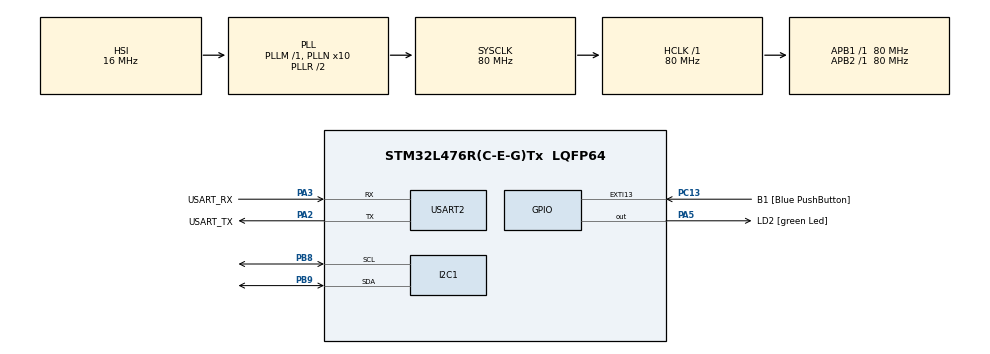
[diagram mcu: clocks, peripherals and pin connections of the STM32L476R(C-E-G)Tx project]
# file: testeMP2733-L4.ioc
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I2C1.Timing=0x10D19CE4
Mcu.Family=STM32L4
Mcu.Name=STM32L476R(C-E-G)Tx
Mcu.Package=LQFP64
NVIC.PriorityGroup=NVIC_PRIORITYGROUP_4
PA13\ (JTMS-SWDIO).GPIO_Label=TMS
PA13\ (JTMS-SWDIO).Mode=Serial_Wire
PA13\ (JTMS-SWDIO).Signal=SYS_JTMS-SWDIO
PA14\ (JTCK-SWCLK).GPIO_Label=TCK
PA14\ (JTCK-SWCLK).Mode=Serial_Wire
PA14\ (JTCK-SWCLK).Signal=SYS_JTCK-SWCLK
PA2.GPIO_Label=USART_TX
PA2.GPIO_Mode=GPIO_MODE_AF_PP
PA2.GPIO_PuPd=GPIO_NOPULL
PA2.GPIO_Speed=GPIO_SPEED_FREQ_VERY_HIGH
PA2.Mode=Asynchronous
PA2.Signal=USART2_TX
PA3.GPIO_Label=USART_RX
PA3.GPIO_Mode=GPIO_MODE_AF_PP
PA3.GPIO_PuPd=GPIO_NOPULL
PA3.GPIO_Speed=GPIO_SPEED_FREQ_VERY_HIGH
PA3.Mode=Asynchronous
PA3.Signal=USART2_RX
PA5.GPIO_Label=LD2 [green Led]
PA5.GPIO_ModeDefaultOutputPP=GPIO_MODE_OUTPUT_PP
PA5.GPIO_PuPd=GPIO_NOPULL
PA5.GPIO_Speed=GPIO_SPEED_FREQ_LOW
PA5.Signal=GPIO_Output
PB3\ (JTDO-TRACESWO).GPIO_Label=SWO
PB3\ (JTDO-TRACESWO).Signal=SYS_JTDO-SWO
PB8.Mode=I2C
PB8.Signal=I2C1_SCL
PB9.Mode=I2C
PB9.Signal=I2C1_SDA
PC13.GPIO_Label=B1 [Blue PushButton]
PC13.GPIO_ModeDefaultEXTI=GPIO_MODE_IT_FALLING
PC13.GPIO_PuPd=GPIO_NOPULL
PC13.Signal=GPXTI13
PC14-OSC32_IN\ (PC14).Mode=LSE-External-Oscillator
PC14-OSC32_IN\ (PC14).Signal=RCC_OSC32_IN
PC15-OSC32_OUT\ (PC15).Mode=LSE-External-Oscillator
PC15-OSC32_OUT\ (PC15).Signal=RCC_OSC32_OUT
PH0-OSC_IN\ (PH0).Signal=RCC_OSC_IN
PH1-OSC_OUT\ (PH1).Signal=RCC_OSC_OUT
ProjectManager.HeapSize=0x200
ProjectManager.StackSize=0x400
ProjectManager.TargetToolchain=CMake
RCC.ADCFreq_Value=64000000
RCC.AHBFreq_Value=80000000
RCC.APB1Freq_Value=80000000
RCC.APB1TimFreq_Value=80000000
RCC.APB2Freq_Value=80000000
RCC.APB2TimFreq_Value=80000000
RCC.CortexFreq_Value=80000000
RCC.HCLKFreq_Value=80000000
RCC.HSE_VALUE=8000000
RCC.HSI_VALUE=16000000
RCC.MSI_VALUE=4000000
RCC.PLLN=10
RCC.PLLSourceVirtual=RCC_PLLSOURCE_HSI
RCC.PREFETCH_ENABLE=1
RCC.SYSCLKFreq_VALUE=80000000
RCC.SYSCLKSource=RCC_SYSCLKSOURCE_PLLCLK
RCC.USBFreq_Value=64000000
RCC.VCOOutputFreq_Value=160000000
USART2.VirtualMode-Asynchronous=VM_ASYNC
board=NUCLEO-L476RG

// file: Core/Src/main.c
/* USER CODE BEGIN Header */
/**
  ******************************************************************************
  * @file           : main.c
  * @brief          : Main program body
  ******************************************************************************
  * @attention
  *
  * Copyright (c) 2026 STMicroelectronics.
  * All rights reserved.
  *
  * This software is licensed under terms that can be found in the LICENSE file
  * in the root directory of this software component.
  * If no LICENSE file comes with this software, it is provided AS-IS.
  *
  ******************************************************************************
  */
/* USER CODE END Header */
#include "main.h"

/* USER CODE BEGIN Includes */
#include <stdio.h>
#include <string.h>
#include "mp2733.h"
/* USER CODE END Includes */

I2C_HandleTypeDef hi2c1;

UART_HandleTypeDef huart2;

/* USER CODE BEGIN PV */
uint8_t mp2733_initialized = 0;
/* USER CODE END PV */

void SystemClock_Config(void);
static void MX_GPIO_Init(void);
static void MX_I2C1_Init(void);
static void MX_USART2_UART_Init(void);

int main(void)
{

  /* MCU Configuration--------------------------------------------------------*/

  /* Reset of all peripherals, Initializes the Flash interface and the Systick. */
  HAL_Init();

  /* Configure the system clock */
  SystemClock_Config();

  /* Initialize all configured peripherals */
  MX_GPIO_Init();
  MX_I2C1_Init();
  MX_USART2_UART_Init();
  /* USER CODE BEGIN 2 */

MP2733_HandleTypeDef MP2733;

printf("Começou");
MP2733_Init(&MP2733, &hi2c1);
mp2733_initialized = MP2733_WriteConfig(&MP2733);
  if (mp2733_initialized)
  {
      printf("MP2733 inicializado com sucesso!\r\n");
  }
  else
  {
      printf("Erro na inicialização do MP2733!\r\n");
  }

  /* USER CODE END 2 */

  /* Infinite loop */
  while (1)
  {

    /* USER CODE BEGIN 3 */

      if (mp2733_initialized)
      {
          // Lê e exibe status
          if (MP2733_GetStatus(&MP2733))
          {
              MP2733_PrintStatus(&MP2733);
          }

          // Lê e exibe falhas
          if (MP2733_GetFault(&MP2733))
          {
              MP2733_PrintFault(&MP2733);
          }

          printf("---\r\n");
      }

      HAL_Delay(5000); // Espera 5 segundos
  }
  /* USER CODE END 3 */
}

void SystemClock_Config(void)
{
  RCC_OscInitTypeDef RCC_OscInitStruct = {0};
  RCC_ClkInitTypeDef RCC_ClkInitStruct = {0};

  /** Configure the main internal regulator output voltage
  */
  if (HAL_PWREx_ControlVoltageScaling(PWR_REGULATOR_VOLTAGE_SCALE1) != HAL_OK)
  {
    Error_Handler();
  }

  /** Initializes the RCC Oscillators according to the specified parameters
  * in the RCC_OscInitTypeDef structure.
  */
  RCC_OscInitStruct.OscillatorType = RCC_OSCILLATORTYPE_HSI;
  RCC_OscInitStruct.HSIState = RCC_HSI_ON;
  RCC_OscInitStruct.HSICalibrationValue = RCC_HSICALIBRATION_DEFAULT;
  RCC_OscInitStruct.PLL.PLLState = RCC_PLL_ON;
  RCC_OscInitStruct.PLL.PLLSource = RCC_PLLSOURCE_HSI;
  RCC_OscInitStruct.PLL.PLLM = 1;
  RCC_OscInitStruct.PLL.PLLN = 10;
  RCC_OscInitStruct.PLL.PLLP = RCC_PLLP_DIV7;
  RCC_OscInitStruct.PLL.PLLQ = RCC_PLLQ_DIV2;
  RCC_OscInitStruct.PLL.PLLR = RCC_PLLR_DIV2;
  if (HAL_RCC_OscConfig(&RCC_OscInitStruct) != HAL_OK)
  {
    Error_Handler();
  }

  /** Initializes the CPU, AHB and APB buses clocks
  */
  RCC_ClkInitStruct.ClockType = RCC_CLOCKTYPE_HCLK|RCC_CLOCKTYPE_SYSCLK
                              |RCC_CLOCKTYPE_PCLK1|RCC_CLOCKTYPE_PCLK2;
  RCC_ClkInitStruct.SYSCLKSource = RCC_SYSCLKSOURCE_PLLCLK;
  RCC_ClkInitStruct.AHBCLKDivider = RCC_SYSCLK_DIV1;
  RCC_ClkInitStruct.APB1CLKDivider = RCC_HCLK_DIV1;
  RCC_ClkInitStruct.APB2CLKDivider = RCC_HCLK_DIV1;

  if (HAL_RCC_ClockConfig(&RCC_ClkInitStruct, FLASH_LATENCY_4) != HAL_OK)
  {
    Error_Handler();
  }
}

static void MX_I2C1_Init(void)
{

  hi2c1.Instance = I2C1;
  hi2c1.Init.Timing = 0x10D19CE4;
  hi2c1.Init.OwnAddress1 = 0;
  hi2c1.Init.AddressingMode = I2C_ADDRESSINGMODE_7BIT;
  hi2c1.Init.DualAddressMode = I2C_DUALADDRESS_DISABLE;
  hi2c1.Init.OwnAddress2 = 0;
  hi2c1.Init.OwnAddress2Masks = I2C_OA2_NOMASK;
  hi2c1.Init.GeneralCallMode = I2C_GENERALCALL_DISABLE;
  hi2c1.Init.NoStretchMode = I2C_NOSTRETCH_DISABLE;
  if (HAL_I2C_Init(&hi2c1) != HAL_OK)
  {
    Error_Handler();
  }

  /** Configure Analogue filter
  */
  if (HAL_I2CEx_ConfigAnalogFilter(&hi2c1, I2C_ANALOGFILTER_ENABLE) != HAL_OK)
  {
    Error_Handler();
  }

  /** Configure Digital filter
  */
  if (HAL_I2CEx_ConfigDigitalFilter(&hi2c1, 0) != HAL_OK)
  {
    Error_Handler();
  }

}

static void MX_USART2_UART_Init(void)
{

  huart2.Instance = USART2;
  huart2.Init.BaudRate = 115200;
  huart2.Init.WordLength = UART_WORDLENGTH_8B;
  huart2.Init.StopBits = UART_STOPBITS_1;
  huart2.Init.Parity = UART_PARITY_NONE;
  huart2.Init.Mode = UART_MODE_TX_RX;
  huart2.Init.HwFlowCtl = UART_HWCONTROL_NONE;
  huart2.Init.OverSampling = UART_OVERSAMPLING_16;
  huart2.Init.OneBitSampling = UART_ONE_BIT_SAMPLE_DISABLE;
  huart2.AdvancedInit.AdvFeatureInit = UART_ADVFEATURE_NO_INIT;
  if (HAL_UART_Init(&huart2) != HAL_OK)
  {
    Error_Handler();
  }

}

static void MX_GPIO_Init(void)
{
  GPIO_InitTypeDef GPIO_InitStruct = {0};

  /* GPIO Ports Clock Enable */
  __HAL_RCC_GPIOC_CLK_ENABLE();
  __HAL_RCC_GPIOH_CLK_ENABLE();
  __HAL_RCC_GPIOA_CLK_ENABLE();
  __HAL_RCC_GPIOB_CLK_ENABLE();

  /*Configure GPIO pin Output Level */
  HAL_GPIO_WritePin(LD2_GPIO_Port, LD2_Pin, GPIO_PIN_RESET);

  /*Configure GPIO pin : B1_Pin */
  GPIO_InitStruct.Pin = B1_Pin;
  GPIO_InitStruct.Mode = GPIO_MODE_IT_FALLING;
  GPIO_InitStruct.Pull = GPIO_NOPULL;
  HAL_GPIO_Init(B1_GPIO_Port, &GPIO_InitStruct);

  /*Configure GPIO pin : LD2_Pin */
  GPIO_InitStruct.Pin = LD2_Pin;
  GPIO_InitStruct.Mode = GPIO_MODE_OUTPUT_PP;
  GPIO_InitStruct.Pull = GPIO_NOPULL;
  GPIO_InitStruct.Speed = GPIO_SPEED_FREQ_LOW;
  HAL_GPIO_Init(LD2_GPIO_Port, &GPIO_InitStruct);

}

/* USER CODE BEGIN 4 */
int __io_putchar (int ch) {
	HAL_UART_Transmit(&huart2, (uint8_t*)&ch, 1, HAL_MAX_DELAY);
	return ch;
	}

/* USER CODE END 4 */

void Error_Handler(void)
{
  __disable_irq();
  while (1)
  {
  }
}
